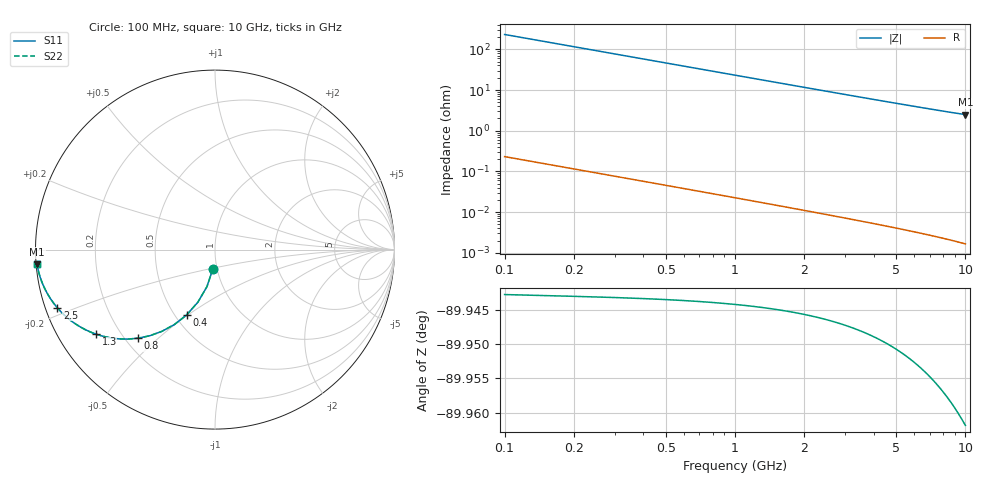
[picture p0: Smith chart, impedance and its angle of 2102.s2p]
# Hz S RI R 50.00
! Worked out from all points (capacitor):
!   100 points, 100 MHz to 10 GHz, reference 50 ohm
!   read as one part in shunt: C = 6.88 pF near 100 MHz
!   lowest |Z| = 2.49 ohm at 10 GHz (marker M1)
!   S11 on the Smith chart (normalised r, x): 100 MHz: 0.96, -0.21; 400 MHz: 0.57, -0.49; 800 MHz: 0.25, -0.43; 1.3 GHz: 0.11, -0.32; 2.5 GHz: 0.03, -0.18; 10 GHz: 0.00, -0.04
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1e8  -0.0116 -0.1067  0.9883 -0.1069  0.9883 -0.1069  -0.0116 -0.1067
2e8  -0.0448 -0.2062  0.9551 -0.2066  0.9551 -0.2066  -0.0448 -0.2062
3e8  -0.0953 -0.293  0.9046 -0.2935  0.9046 -0.2935  -0.0953 -0.293
4e8  -0.1577 -0.3636  0.8423 -0.3643  0.8423 -0.3643  -0.1577 -0.3636
5e8  -0.2262 -0.4175  0.7738 -0.4183  0.7738 -0.4183  -0.2262 -0.4175
6e8  -0.2961 -0.4556  0.7038 -0.4566  0.7038 -0.4566  -0.2961 -0.4556
7e8  -0.364 -0.4801  0.6359 -0.4812  0.6359 -0.4812  -0.364 -0.4801
8e8  -0.4277 -0.4936  0.5722 -0.4949  0.5722 -0.4949  -0.4277 -0.4936
1e9  -0.5386 -0.4972  0.4614 -0.4988  0.4614 -0.4988  -0.5386 -0.4972
1.1e9  -0.5854 -0.4912  0.4146 -0.4931  0.4146 -0.4931  -0.5854 -0.4912
1.3e9  -0.6634 -0.4709  0.3365 -0.4731  0.3365 -0.4731  -0.6634 -0.4709
1.5e9  -0.724 -0.4452  0.2759 -0.4477  0.2759 -0.4477  -0.724 -0.4452
1.8e9  -0.7906 -0.4049  0.2093 -0.4078  0.2093 -0.4078  -0.7906 -0.4049
2.1e9  -0.837 -0.367  0.1629 -0.3705  0.1629 -0.3705  -0.837 -0.367
2.5e9  -0.8792 -0.3233  0.1208 -0.3275  0.1208 -0.3275  -0.8792 -0.3233
2.9e9  -0.9073 -0.287  0.0926 -0.2919  0.0926 -0.2919  -0.9073 -0.287
3.4e9  -0.9308 -0.2504  0.0691 -0.256  0.0691 -0.256  -0.9308 -0.2504
4.2e9  -0.9536 -0.2063  0.0464 -0.2133  0.0464 -0.2133  -0.9536 -0.2063
5.1e9  -0.9681 -0.1709  0.0318 -0.1795  0.0318 -0.1795  -0.9681 -0.1709
6.7e9  -0.9813 -0.1289  0.0186 -0.1404  0.0186 -0.1404  -0.9813 -0.1289
8.4e9  -0.9881 -0.1002  0.0117 -0.1147  0.0117 -0.1147  -0.9881 -0.1002
1e10  -0.9916 -0.0811  0.00814 -0.0987  0.00814 -0.0987  -0.9916 -0.0811
